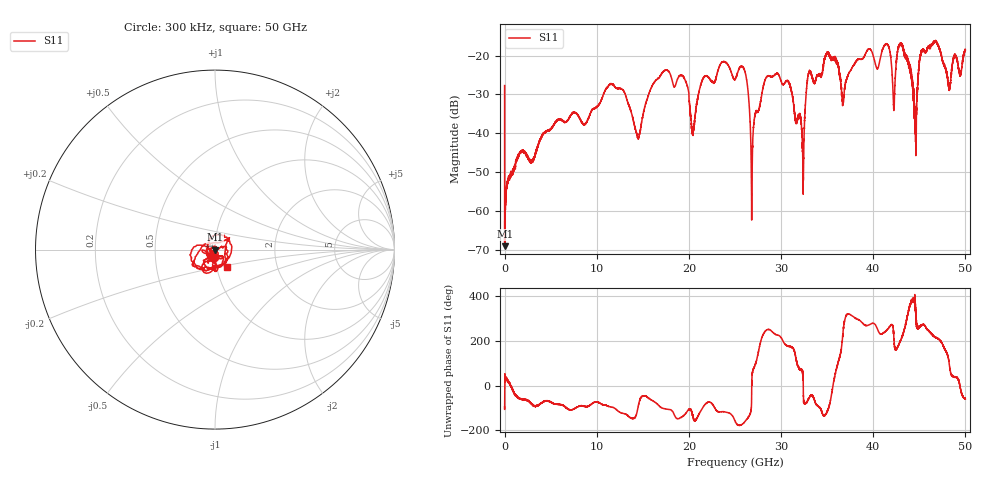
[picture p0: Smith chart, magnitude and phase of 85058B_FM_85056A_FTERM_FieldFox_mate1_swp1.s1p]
!Created with skrf (http://scikit-rf.org).
# Hz S RI R 50.0
!freq ReS11 ImS11
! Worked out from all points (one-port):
!   10001 points, 300 kHz to 50 GHz, reference 50 ohm
!   lowest |S11| = -68.9 dB at 5.3 MHz (marker M1), VSWR 1.00, Z = 50 - j0.0341 ohm
!   |S11| at or under -10 dB: start of sweep to end of sweep
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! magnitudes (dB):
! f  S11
! 300 kHz  -27.7
! 5.3 MHz  -68.9
! 255.3 MHz  -53.6
! 6.25 GHz  -36.8
! 12.5 GHz  -28.4
! 14.49 GHz  -41.0
! 16.25 GHz  -26.8
! 18.75 GHz  -26.1
! 19.71 GHz  -26.9
! 20.43 GHz  -40.2
! 21.66 GHz  -25.5
! 25 GHz  -26.2
! 26.09 GHz  -24.3
! 26.87 GHz  -48.0
! 28.47 GHz  -25.4
! 31.25 GHz  -30.8
! 32.32 GHz  -42.7
! 33.08 GHz  -24.0
! 35.13 GHz  -19.3
! 36.73 GHz  -32.3
! 37.5 GHz  -24.0
! 42.23 GHz  -32.8
! 43.75 GHz  -21.2
! 44.56 GHz  -36.9
! 45.36 GHz  -18.5
! 46.87 GHz  -16.6
! 48.23 GHz  -28.7
! 50 GHz  -18.5
